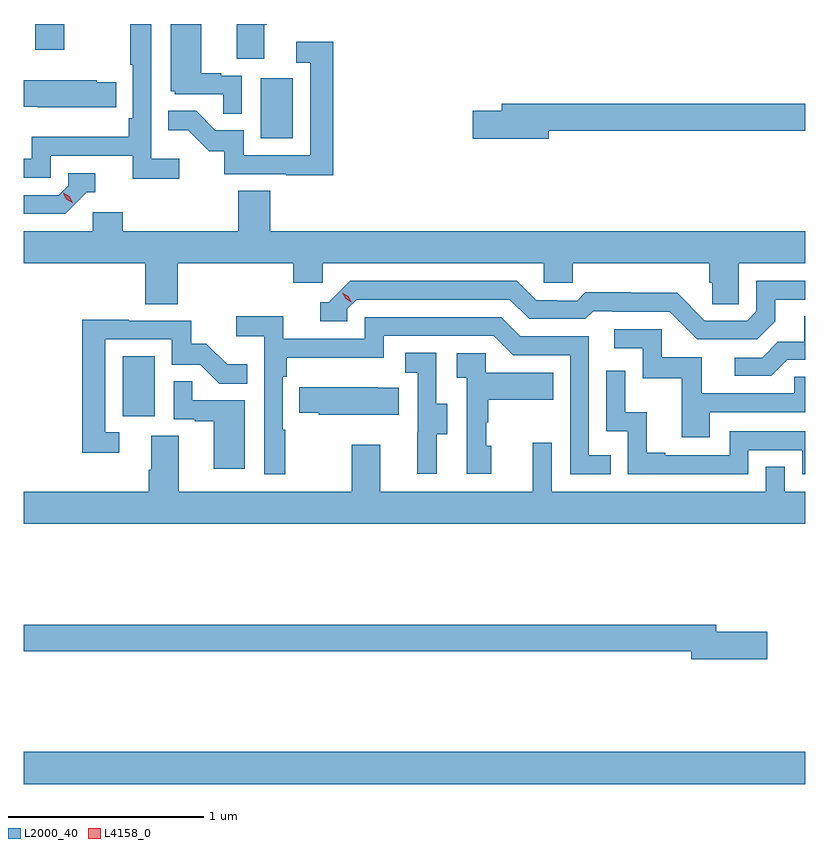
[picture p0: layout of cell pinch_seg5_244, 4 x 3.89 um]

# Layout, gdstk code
import gdstk
lib = gdstk.Library(unit=1e-6, precision=1e-09)
def R(c, l, rs):  # rectangles x0, y0, x1, y1
    for r in rs: c.add(gdstk.rectangle(r[:2], r[2:], *l))
def P(c, l, *ps):  # polygons
    for p in ps: c.add(gdstk.Polygon(p, *l))
L2000_40 = (2000, 40)
L4158_0 = (4158, 0)

pinch_seg5_244 = lib.new_cell('pinch_seg5_244')
R(pinch_seg5_244, L2000_40, [(937.818,895.388,941.818,895.552), (938.324,897.27,938.488,897.577), (939.032,898.692,939.196,898.999), (937.877,899.145,938.025,899.277)])
P(pinch_seg5_244, L2000_40, [(939.049,899.272),(939.062,899.272),(939.062,899.277),(938.909,899.277),(938.909,899.098),(939.049,899.098)],
  [(938.934,899.013),(938.828,899.013),(938.828,899.026),(938.728,899.026),(938.728,899.277),(938.57,899.277),(938.57,898.932),(938.592,898.932),(938.592,898.917),(938.839,898.917),(938.839,898.819),(938.934,898.819)],
  [(938.614,898.588),(938.472,898.588),(938.472,899.277),(938.364,899.277),(938.364,899.068),(938.376,899.068),(938.376,898.795),(938.356,898.795),(938.356,898.699),(937.86,898.699),(937.86,898.587),(937.818,898.587),(937.818,898.491),(937.956,898.491),(937.956,898.602),(938.375,898.602),(938.375,898.486),(938.614,898.486)],
  [(939.401,899.185),(939.213,899.185),(939.213,899.079),(939.285,899.079),(939.285,898.605),(938.943,898.605),(938.943,898.734),(938.799,898.734),(938.701,898.832),(938.557,898.832),(938.557,898.733),(938.661,898.733),(938.768,898.626),(938.845,898.626),(938.845,898.509),(939.163,898.509),(939.163,898.504),(939.401,898.504)],
  [(938.291,898.98),(938.193,898.98),(938.193,898.99),(937.818,898.99),(937.818,898.853),(937.891,898.853),(937.891,898.85),(938.291,898.85)],
  [(940.504,898.732),(941.818,898.732),(941.818,898.868),(940.265,898.868),(940.265,898.832),(940.116,898.832),(940.116,898.69),(940.504,898.69)],
  [(938.142,898.416),(938.185,898.416),(938.185,898.512),(938.046,898.512),(938.046,898.449),(937.998,898.401),(937.818,898.401),(937.818,898.305),(938.031,898.305)],
  [(939.08,898.424),(938.915,898.424),(938.915,898.216),(938.324,898.216),(938.324,898.314),(938.172,898.314),(938.172,898.216),(937.818,898.216),(937.818,898.052),(938.441,898.052),(938.441,897.844),(938.606,897.844),(938.606,898.052),(939.197,898.052),(939.197,897.954),(939.348,897.954),(939.348,898.052),(940.479,898.052),(940.479,897.954),(940.629,897.954),(940.629,898.052),(941.327,898.052),(941.327,897.954),(941.341,897.954),(941.341,897.844),(941.478,897.844),(941.478,898.052),(941.818,898.052),(941.818,898.216),(939.08,898.216)],
  [(941.665,897.757),(941.665,897.867),(941.818,897.867),(941.818,897.963),(941.568,897.963),(941.568,897.807),(941.52,897.759),(941.304,897.759),(941.162,897.901),(940.926,897.901),(940.926,897.904),(940.693,897.904),(940.651,897.861),(940.548,897.861),(940.548,897.864),(940.441,897.864),(940.342,897.963),(939.489,897.963),(939.378,897.852),(939.335,897.852),(939.335,897.756),(939.474,897.756),(939.474,897.819),(939.522,897.867),(940.305,897.867),(940.404,897.768),(940.693,897.768),(940.732,897.807),(940.831,897.807),(940.831,897.804),(941.124,897.804),(941.265,897.663),(941.571,897.663)],
  [(941.725,897.558),(941.818,897.558),(941.818,897.782),(941.813,897.782),(941.813,897.65),(941.678,897.65),(941.598,897.57),(941.457,897.57),(941.457,897.477),(941.644,897.477)],
  [(939.157,897.2),(939.144,897.2),(939.144,897.473),(939.164,897.473),(939.164,897.569),(939.66,897.569),(939.66,897.681),(940.224,897.681),(940.323,897.582),(940.614,897.582),(940.614,896.973),(940.823,896.973),(940.823,897.069),(940.71,897.069),(940.71,897.678),(940.36,897.678),(940.261,897.777),(939.564,897.777),(939.564,897.666),(939.146,897.666),(939.146,897.782),(938.907,897.782),(938.907,897.68),(939.048,897.68),(939.048,896.973),(939.157,896.973)],
  [(938.308,897.189),(938.235,897.189),(938.235,897.663),(938.577,897.663),(938.577,897.534),(938.721,897.534),(938.819,897.436),(938.963,897.436),(938.963,897.535),(938.859,897.535),(938.752,897.642),(938.676,897.642),(938.676,897.759),(938.357,897.759),(938.357,897.764),(938.119,897.764),(938.119,897.084),(938.308,897.084)],
  [(941.329,897.291),(941.818,897.291),(941.818,897.471),(941.761,897.471),(941.761,897.387),(941.287,897.387),(941.287,897.573),(941.082,897.573),(941.082,897.714),(940.839,897.714),(940.839,897.618),(940.986,897.618),(940.986,897.465),(941.185,897.465),(941.185,897.162),(941.329,897.162)],
  [(939.931,897.178),(939.985,897.178),(939.985,897.333),(939.93,897.333),(939.93,897.596),(939.771,897.596),(939.771,897.493),(939.834,897.493),(939.834,897.189),(939.833,897.189),(939.833,896.976),(939.931,896.976)],
  [(940.21,897.12),(940.185,897.12),(940.185,897.239),(940.195,897.239),(940.195,897.353),(940.529,897.353),(940.529,897.493),(940.182,897.493),(940.182,897.591),(940.035,897.591),(940.035,897.467),(940.086,897.467),(940.086,896.976),(940.21,896.976)],
  [(941.526,897.096),(941.802,897.096),(941.802,896.973),(941.818,896.973),(941.818,897.192),(941.43,897.192),(941.43,897.069),(941.101,897.069),(941.101,897.082),(941.006,897.082),(941.006,897.29),(940.896,897.29),(940.896,897.502),(940.8,897.502),(940.8,897.192),(940.908,897.192),(940.908,896.973),(941.526,896.973)],
  [(938.95,897.351),(938.681,897.351),(938.681,897.449),(938.586,897.449),(938.586,897.255),(938.693,897.255),(938.693,897.243),(938.792,897.243),(938.792,897),(938.95,897)],
  [(939.737,897.415),(939.629,897.415),(939.629,897.418),(939.229,897.418),(939.229,897.289),(939.327,897.289),(939.327,897.278),(939.737,897.278)],
  [(941.818,896.884),(941.712,896.884),(941.712,897.011),(941.616,897.011),(941.616,896.884),(940.521,896.884),(940.521,897.133),(940.424,897.133),(940.424,896.884),(939.643,896.884),(939.643,897.124),(939.496,897.124),(939.496,896.884),(938.611,896.884),(938.611,897.17),(938.471,897.17),(938.471,896.996),(938.459,896.996),(938.459,896.884),(937.818,896.884),(937.818,896.72),(941.818,896.72)],
  [(941.623,896.168),(941.362,896.168),(941.362,896.204),(937.818,896.204),(937.818,896.068),(941.234,896.068),(941.234,896.026),(941.623,896.026)])
P(pinch_seg5_244, L4158_0, [(939.496,897.851),(939.465,897.871),(939.449,897.903),(939.449,897.903),(939.449,897.903),(939.48,897.884),(939.496,897.851),(939.496,897.851)],
  [(938.067,898.362),(938.037,898.381),(938.021,898.414),(938.021,898.414),(938.021,898.414),(938.052,898.395),(938.068,898.362),(938.068,898.362)])

lib.write_gds('pinch_seg5_244.gds')
